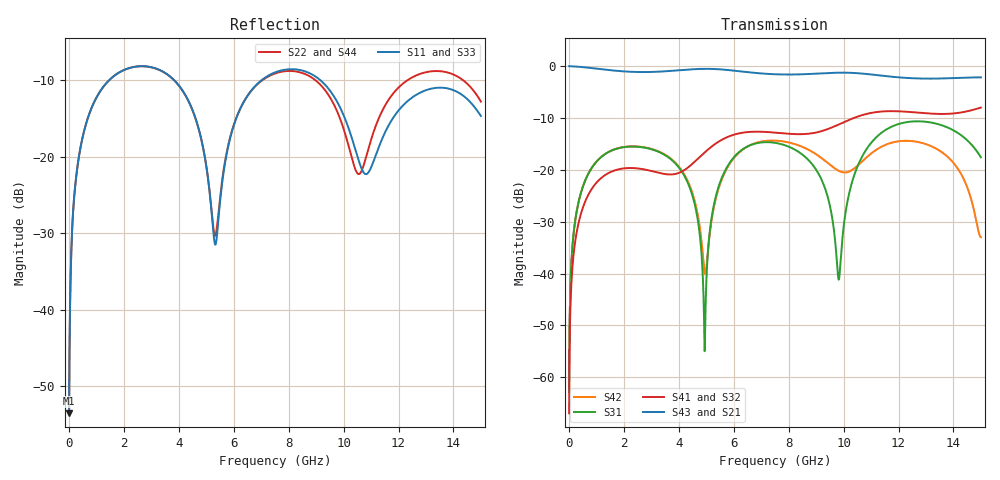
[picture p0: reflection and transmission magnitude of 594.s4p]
! Created with skrf 1.8.0 (http://scikit-rf.org).
# GHz S RI R 50.0
!freq ReS11 ImS11 ReS12 ImS12 ReS13 ImS13
! ReS14 ImS14
! ReS21 ImS21 ReS22 ImS22 ReS23 ImS23
! ReS24 ImS24
! ReS31 ImS31 ReS32 ImS32 ReS33 ImS33
! ReS34 ImS34
! ReS41 ImS41 ReS42 ImS42 ReS43 ImS43
! ReS44 ImS44
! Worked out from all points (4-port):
!   2499 points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, 5 MHz to 15 GHz, reference 50 ohm
!   strongest paths, dB at 5 MHz, 3.476 GHz, 7.19 GHz, 11.1 GHz, 15 GHz:
!     S43: 0.0, -1.0, -1.5, -1.7, -2.2
!     S21: 0.0, -1.0, -1.5, -1.7, -2.2
!     S41: -67.0, -20.8, -12.7, -8.9, -8.0
!     S32: -67.0, -20.8, -12.7, -8.9, -8.0
!     S31: -62.9, -17.1, -14.7, -14.2, -17.6
!     S42: -62.9, -17.0, -14.4, -16.5, -33.0
!   lowest |S11| = -53.5 dB at 5 MHz (marker M1), VSWR 1.00, Z = 50.2 + j0.128 ohm
!   |S11| at or under -10 dB: start of sweep to 1.473 GHz; 3.821 GHz to 7.027 GHz (3.206 GHz wide, 59.1 % of centre); 9.142 GHz to end of sweep
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0.005  0.00168 0.00127  0.9983 -0.00328  8.63e-05 0.000715  -8.35e-05 -0.000441
       0.9983 -0.00328  0.00168 0.00127  -8.35e-05 -0.000441  8.63e-05 0.000715
       8.63e-05 0.000715  -8.35e-05 -0.000441  0.00168 0.00127  0.9983 -0.00328
       -8.35e-05 -0.000441  8.63e-05 0.000715  0.9983 -0.00328  0.00168 0.00127
0.3626511  0.0316 0.095  0.9563 -0.234  0.0159 0.0481  -0.0132 -0.029
           0.9563 -0.234  0.0316 0.095  -0.0132 -0.029  0.0161 0.0481
           0.0159 0.0481  -0.0132 -0.029  0.0316 0.095  0.9563 -0.234
           -0.0132 -0.029  0.0161 0.0481  0.9563 -0.234  0.0316 0.095
1.77574  0.316 0.1485  0.4334 -0.7869  0.153 0.0494  -0.0996 0.0147
         0.4334 -0.7869  0.3156 0.1489  -0.0996 0.0147  0.1543 0.047
         0.153 0.0494  -0.0996 0.0147  0.3159 0.1484  0.4335 -0.7869
         -0.0996 0.0147  0.1543 0.047  0.4335 -0.7869  0.3154 0.1488
4.945811  0.0455 -0.0889  -0.8944 -0.2906  -0.0018 0.000375  -0.0412 0.1416
          -0.8944 -0.2906  0.0484 -0.0866  -0.0411 0.1416  -0.00964 -0.00303
          -0.0018 0.000375  -0.0411 0.1416  0.0453 -0.0879  -0.8946 -0.2906
          -0.0412 0.1416  -0.00964 -0.00303  -0.8946 -0.2906  0.0479 -0.0856
8.265944  0.3686 -0.0348  -0.00406 0.8299  0.1405 -0.0637  0.2118 -0.0621
          -0.00406 0.8299  0.3573 -0.0348  0.2116 -0.062  0.1371 -0.1095
          0.1405 -0.0637  0.2116 -0.062  0.367 -0.0356  -0.00512 0.8306
          0.2118 -0.0621  0.1371 -0.1095  -0.00512 0.8306  0.3558 -0.0327
9.822843  0.1553 -0.1524  0.6661 0.5488  0.00855 0.00172  0.1676 -0.2161
          0.6661 0.5488  0.1389 -0.1238  0.1681 -0.2159  -0.0741 -0.0638
          0.00855 0.00172  0.1681 -0.2159  0.1505 -0.1514  0.6662 0.5499
          0.1676 -0.2161  -0.0741 -0.0638  0.6662 0.5499  0.1394 -0.1187
15  0.1704 -0.0693  -0.4886 -0.6072  -0.0438 -0.1246  -0.3048 0.256
    -0.4886 -0.6072  0.1752 -0.1463  -0.3014 0.2605  -0.018 -0.0134
    -0.0438 -0.1246  -0.3014 0.2605  0.1842 -0.0555  -0.4822 -0.6109
    -0.3048 0.256  -0.018 -0.0134  -0.4822 -0.6109  0.1678 -0.1595
